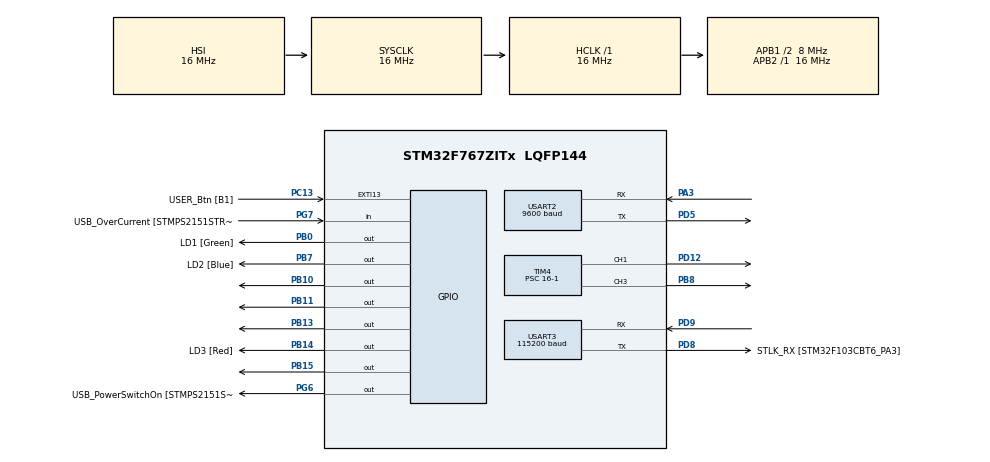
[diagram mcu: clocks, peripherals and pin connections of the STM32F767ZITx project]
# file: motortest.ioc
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Mcu.Family=STM32F7
Mcu.Name=STM32F767ZITx
Mcu.Package=LQFP144
NVIC.PriorityGroup=NVIC_PRIORITYGROUP_4
PA1.GPIO_Label=RMII_REF_CLK [LAN8742A-CZ-TR_REFCLK0]
PA1.Signal=ETH_REF_CLK
PA10.GPIO_Label=USB_ID
PA10.Signal=USB_OTG_FS_ID
PA11.GPIO_Label=USB_DM
PA11.Signal=USB_OTG_FS_DM
PA12.GPIO_Label=USB_DP
PA12.Signal=USB_OTG_FS_DP
PA13.GPIO_Label=TMS
PA13.Signal=SYS_JTMS-SWDIO
PA14.GPIO_Label=TCK
PA14.Signal=SYS_JTCK-SWCLK
PA2.GPIO_Label=RMII_MDIO [LAN8742A-CZ-TR_MDIO]
PA2.Signal=ETH_MDIO
PA3.Mode=Asynchronous
PA3.Signal=USART2_RX
PA7.GPIO_Label=RMII_CRS_DV [LAN8742A-CZ-TR_CRS_DV]
PA7.Signal=ETH_CRS_DV
PA8.GPIO_Label=USB_SOF [TP1]
PA8.Signal=USB_OTG_FS_SOF
PA9.GPIO_Label=USB_VBUS
PA9.Signal=USB_OTG_FS_VBUS
PB0.GPIO_Label=LD1 [Green]
PB0.Signal=GPIO_Output
PB10.Signal=GPIO_Output
PB11.Signal=GPIO_Output
PB13.Signal=GPIO_Output
PB14.GPIO_Label=LD3 [Red]
PB14.Signal=GPIO_Output
PB15.Signal=GPIO_Output
PB3.GPIO_Label=SW0
PB3.Signal=SYS_JTDO-SWO
PB7.GPIO_Label=LD2 [Blue]
PB7.Signal=GPIO_Output
PB8.Signal=S_TIM4_CH3
PC1.GPIO_Label=RMII_MDC [LAN8742A-CZ-TR_MDC]
PC1.Signal=ETH_MDC
PC13.GPIO_Label=USER_Btn [B1]
PC13.Signal=GPXTI13
PC14/OSC32_IN.Signal=RCC_OSC32_IN
PC15/OSC32_OUT.Signal=RCC_OSC32_OUT
PC4.GPIO_Label=RMII_RXD0 [LAN8742A-CZ-TR_RXD0]
PC4.Signal=ETH_RXD0
PC5.GPIO_Label=RMII_RXD1 [LAN8742A-CZ-TR_RXD1]
PC5.Signal=ETH_RXD1
PD12.Signal=S_TIM4_CH1
PD5.Mode=Asynchronous
PD5.Signal=USART2_TX
PD8.GPIO_Label=STLK_RX [STM32F103CBT6_PA3]
PD8.Mode=Asynchronous
PD8.Signal=USART3_TX
PD9.Mode=Asynchronous
PD9.Signal=USART3_RX
PG11.GPIO_Label=RMII_TX_EN [LAN8742A-CZ-TR_TXEN]
PG11.Signal=ETH_TX_EN
PG13.GPIO_Label=RMII_TXD0 [LAN8742A-CZ-TR_TXD0]
PG13.Signal=ETH_TXD0
PG6.GPIO_Label=USB_PowerSwitchOn [STMPS2151STR_EN]
PG6.Signal=GPIO_Output
PG7.GPIO_Label=USB_OverCurrent [STMPS2151STR_FAULT]
PG7.Signal=GPIO_Input
PH0/OSC_IN.GPIO_Label=MCO [STM32F103CBT6_PA8]
PH0/OSC_IN.Signal=RCC_OSC_IN
PH1/OSC_OUT.Signal=RCC_OSC_OUT
ProjectManager.HeapSize=0x200
ProjectManager.StackSize=0x400
ProjectManager.TargetToolchain=STM32CubeIDE
RCC.48MHZClocksFreq_Value=24000000
RCC.AHBFreq_Value=16000000
RCC.APB1CLKDivider=RCC_HCLK_DIV2
RCC.APB1Freq_Value=8000000
RCC.APB1TimFreq_Value=16000000
RCC.APB2Freq_Value=16000000
RCC.APB2TimFreq_Value=16000000
RCC.CortexFreq_Value=16000000
RCC.HCLKFreq_Value=16000000
RCC.HSE_VALUE=16000000
RCC.HSI_VALUE=16000000
RCC.LSE_VALUE=32768
RCC.PLLMUL=RCC_PLL_MUL9
RCC.PRESCALERUSB=RCC_USBCLKSOURCE_PLL_DIV1_5
RCC.SYSCLKFreq_VALUE=16000000
RCC.SYSCLKSourceVirtual=RCC_SYSCLKSOURCE_PLLCLK
RCC.USBFreq_Value=96000000
RCC.VCOOutputFreq_Value=192000000
SH.S_TIM4_CH1.0=TIM4_CH1,PWM Generation1 CH1
SH.S_TIM4_CH3.0=TIM4_CH3,PWM Generation3 CH3
TIM4.Channel-PWM\ Generation1\ CH1=TIM_CHANNEL_1
TIM4.Channel-PWM\ Generation3\ CH3=TIM_CHANNEL_3
TIM4.Period=10000-1
TIM4.Prescaler=16-1
USART2.BaudRate=9600
USART2.VirtualMode-Asynchronous=VM_ASYNC
USART3.BaudRate=115200
USART3.VirtualMode-Asynchronous=VM_ASYNC
VP_TIM4_VS_ClockSourceINT.Mode=Internal
board=NUCLEO-F767ZI

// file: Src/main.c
/* USER CODE BEGIN Header */
/**
  ******************************************************************************
  * @file           : main.c
  * @brief          : Main program body
  ******************************************************************************
  * @attention
  *
  * Copyright (c) 2025 STMicroelectronics.
  * All rights reserved.
  *
  * This software is licensed under terms that can be found in the LICENSE file
  * in the root directory of this software component.
  * If no LICENSE file comes with this software, it is provided AS-IS.
  *
  ******************************************************************************
  */
/* USER CODE END Header */
#include "main.h"

/* USER CODE BEGIN Includes */
#include <stdio.h>
#include <string.h>
/* USER CODE END Includes */

TIM_HandleTypeDef htim4;
UART_HandleTypeDef huart2;
UART_HandleTypeDef huart3;

void SystemClock_Config(void);
static void MX_GPIO_Init(void);
static void MX_TIM4_Init(void);
static void MX_USART2_UART_Init(void);
static void MX_USART3_UART_Init(void);

int main(void)
{

  /* MCU Configuration--------------------------------------------------------*/

  /* Reset of all peripherals, Initializes the Flash interface and the Systick. */
  HAL_Init();

  /* Configure the system clock */
  SystemClock_Config();

  /* Initialize all configured peripherals */
  MX_GPIO_Init();
  MX_TIM4_Init();
  MX_USART2_UART_Init();
  MX_USART3_UART_Init();
  /* USER CODE BEGIN 2 */

  // Start PWM on PB8 (TIM4_CH3)
  HAL_TIM_PWM_Start(&htim4, TIM_CHANNEL_3);
  HAL_TIM_PWM_Start(&htim4, TIM_CHANNEL_1);
  // set stop på motorene
  HAL_GPIO_WritePin(GPIOB,GPIO_PIN_15,GPIO_PIN_RESET);
  HAL_GPIO_WritePin(GPIOB,GPIO_PIN_13,GPIO_PIN_RESET);
  HAL_GPIO_WritePin(GPIOB,GPIO_PIN_10,GPIO_PIN_RESET);
  HAL_GPIO_WritePin(GPIOB,GPIO_PIN_11,GPIO_PIN_RESET);
  uint32_t arr = __HAL_TIM_GET_AUTORELOAD(&htim4); // get arr pwm
  char input[5]; // variable for uart
  uint8_t prosent = 0; // sett pwm cycle duty prosent her

 // __HAL_TIM_SET_COMPARE(&htim4, TIM_CHANNEL_1, 0);
 // __HAL_TIM_SET_COMPARE(&htim4, TIM_CHANNEL_3, 0);
  //HAL_Delay(500);
  //__HAL_TIM_SET_COMPARE(&htim4, TIM_CHANNEL_1, arr/2);
  //__HAL_TIM_SET_COMPARE(&htim4, TIM_CHANNEL_3, arr/2);
  //HAL_Delay(100);

  /* USER CODE END 2 */

  /* Infinite loop */
  /* USER CODE BEGIN WHILE */
  while (1)
  {
    if(HAL_UART_Receive(&huart2, (uint8_t*)input, sizeof(input), HAL_MAX_DELAY) == HAL_OK)//receive data
    {
      HAL_UART_Transmit(&huart3, (uint8_t*)input, sizeof(input), HAL_MAX_DELAY); //send data to uart3 for debugging
      //retning input
      if (strcmp((char *)input, "!B516") == 0) // framover
      {
        //høyre motor framover
        HAL_GPIO_WritePin(GPIOB,GPIO_PIN_15,GPIO_PIN_RESET);
        HAL_GPIO_WritePin(GPIOB,GPIO_PIN_13,GPIO_PIN_SET);
        //venstre motor framover
        HAL_GPIO_WritePin(GPIOB,GPIO_PIN_10,GPIO_PIN_RESET);
        HAL_GPIO_WritePin(GPIOB,GPIO_PIN_11,GPIO_PIN_SET);
      }
      else if (strcmp((char *)input, "!B615") == 0) // bakover
      {
        //høyre motor bakover
        HAL_GPIO_WritePin(GPIOB,GPIO_PIN_15,GPIO_PIN_SET);
        HAL_GPIO_WritePin(GPIOB,GPIO_PIN_13,GPIO_PIN_RESET);
        //venstre motor bakover
        HAL_GPIO_WritePin(GPIOB,GPIO_PIN_10,GPIO_PIN_SET);
        HAL_GPIO_WritePin(GPIOB,GPIO_PIN_11,GPIO_PIN_RESET);
      }
      else if (strcmp((char *)input, "!B714") == 0) // venstre
      {
        //høyre motor framover
        HAL_GPIO_WritePin(GPIOB,GPIO_PIN_15,GPIO_PIN_RESET);
        HAL_GPIO_WritePin(GPIOB,GPIO_PIN_13,GPIO_PIN_SET);
        //venstre motor bakover
        HAL_GPIO_WritePin(GPIOB,GPIO_PIN_10,GPIO_PIN_SET);
        HAL_GPIO_WritePin(GPIOB,GPIO_PIN_11,GPIO_PIN_RESET);
      }
      else if (strcmp((char *)input, "!B813") == 0) // høyre
      {
        //høyre motor bakover
        HAL_GPIO_WritePin(GPIOB,GPIO_PIN_15,GPIO_PIN_SET);
        HAL_GPIO_WritePin(GPIOB,GPIO_PIN_13,GPIO_PIN_RESET);
        //venstre motor framover
        HAL_GPIO_WritePin(GPIOB,GPIO_PIN_10,GPIO_PIN_RESET);
        HAL_GPIO_WritePin(GPIOB,GPIO_PIN_11,GPIO_PIN_SET);
      }
      //toggle speed
      else if (strcmp((char *)input, "!B11:") == 0) // sett hastighet 40 prosent
      {
        prosent = 40;
      }
      else if (strcmp((char *)input, "!B219") == 0) // sett hastighet 60 prosent
      {
        prosent = 60;
      }
      else if (strcmp((char *)input, "!B318") == 0) // sett hastighet 80 prosent
      {
        prosent = 80;
      }
      else if (strcmp((char *)input, "!B417") == 0) // sett hastighet 100 prosent
      {
        prosent = 100;
      }

      else // stopp
      {
        HAL_GPIO_WritePin(GPIOB,GPIO_PIN_15,GPIO_PIN_RESET);
        HAL_GPIO_WritePin(GPIOB,GPIO_PIN_13,GPIO_PIN_RESET);
        HAL_GPIO_WritePin(GPIOB,GPIO_PIN_10,GPIO_PIN_RESET);
        HAL_GPIO_WritePin(GPIOB,GPIO_PIN_11,GPIO_PIN_RESET);
      }
    }

    __HAL_TIM_SET_COMPARE(&htim4, TIM_CHANNEL_1, (arr/100)*prosent);
    __HAL_TIM_SET_COMPARE(&htim4, TIM_CHANNEL_3, (arr/100)*prosent);
    /* USER CODE END WHILE */

    /* USER CODE BEGIN 3 */
  }
  HAL_TIM_PWM_Stop(&htim4, TIM_CHANNEL_3);
  HAL_TIM_PWM_Stop(&htim4, TIM_CHANNEL_1);
  /* USER CODE END 3 */
}

void SystemClock_Config(void)
{
  RCC_OscInitTypeDef RCC_OscInitStruct = {0};
  RCC_ClkInitTypeDef RCC_ClkInitStruct = {0};

  /** Configure the main internal regulator output voltage
  */
  __HAL_RCC_PWR_CLK_ENABLE();
  __HAL_PWR_VOLTAGESCALING_CONFIG(PWR_REGULATOR_VOLTAGE_SCALE3);

  /** Initializes the RCC Oscillators according to the specified parameters
  * in the RCC_OscInitTypeDef structure.
  */
  RCC_OscInitStruct.OscillatorType = RCC_OSCILLATORTYPE_HSI;
  RCC_OscInitStruct.HSIState = RCC_HSI_ON;
  RCC_OscInitStruct.HSICalibrationValue = RCC_HSICALIBRATION_DEFAULT;
  RCC_OscInitStruct.PLL.PLLState = RCC_PLL_NONE;
  if (HAL_RCC_OscConfig(&RCC_OscInitStruct) != HAL_OK)
  {
    Error_Handler();
  }

  /** Initializes the CPU, AHB and APB buses clocks
  */
  RCC_ClkInitStruct.ClockType = RCC_CLOCKTYPE_HCLK|RCC_CLOCKTYPE_SYSCLK
                              |RCC_CLOCKTYPE_PCLK1|RCC_CLOCKTYPE_PCLK2;
  RCC_ClkInitStruct.SYSCLKSource = RCC_SYSCLKSOURCE_HSI;
  RCC_ClkInitStruct.AHBCLKDivider = RCC_SYSCLK_DIV1;
  RCC_ClkInitStruct.APB1CLKDivider = RCC_HCLK_DIV2;
  RCC_ClkInitStruct.APB2CLKDivider = RCC_HCLK_DIV1;

  if (HAL_RCC_ClockConfig(&RCC_ClkInitStruct, FLASH_LATENCY_0) != HAL_OK)
  {
    Error_Handler();
  }
}

static void MX_TIM4_Init(void)
{

  TIM_ClockConfigTypeDef sClockSourceConfig = {0};
  TIM_MasterConfigTypeDef sMasterConfig = {0};
  TIM_OC_InitTypeDef sConfigOC = {0};

  htim4.Instance = TIM4;
  htim4.Init.Prescaler = 16-1;
  htim4.Init.CounterMode = TIM_COUNTERMODE_UP;
  htim4.Init.Period = 10000-1;
  htim4.Init.ClockDivision = TIM_CLOCKDIVISION_DIV1;
  htim4.Init.AutoReloadPreload = TIM_AUTORELOAD_PRELOAD_DISABLE;
  if (HAL_TIM_Base_Init(&htim4) != HAL_OK)
  {
    Error_Handler();
  }
  sClockSourceConfig.ClockSource = TIM_CLOCKSOURCE_INTERNAL;
  if (HAL_TIM_ConfigClockSource(&htim4, &sClockSourceConfig) != HAL_OK)
  {
    Error_Handler();
  }
  if (HAL_TIM_PWM_Init(&htim4) != HAL_OK)
  {
    Error_Handler();
  }
  sMasterConfig.MasterOutputTrigger = TIM_TRGO_RESET;
  sMasterConfig.MasterSlaveMode = TIM_MASTERSLAVEMODE_DISABLE;
  if (HAL_TIMEx_MasterConfigSynchronization(&htim4, &sMasterConfig) != HAL_OK)
  {
    Error_Handler();
  }
  sConfigOC.OCMode = TIM_OCMODE_PWM1;
  sConfigOC.Pulse = 0;
  sConfigOC.OCPolarity = TIM_OCPOLARITY_HIGH;
  sConfigOC.OCFastMode = TIM_OCFAST_DISABLE;
  if (HAL_TIM_PWM_ConfigChannel(&htim4, &sConfigOC, TIM_CHANNEL_1) != HAL_OK)
  {
    Error_Handler();
  }
  if (HAL_TIM_PWM_ConfigChannel(&htim4, &sConfigOC, TIM_CHANNEL_3) != HAL_OK)
  {
    Error_Handler();
  }
  HAL_TIM_MspPostInit(&htim4);

}

static void MX_USART2_UART_Init(void)
{

  huart2.Instance = USART2;
  huart2.Init.BaudRate = 9600;
  huart2.Init.WordLength = UART_WORDLENGTH_8B;
  huart2.Init.StopBits = UART_STOPBITS_1;
  huart2.Init.Parity = UART_PARITY_NONE;
  huart2.Init.Mode = UART_MODE_TX_RX;
  huart2.Init.HwFlowCtl = UART_HWCONTROL_NONE;
  huart2.Init.OverSampling = UART_OVERSAMPLING_16;
  huart2.Init.OneBitSampling = UART_ONE_BIT_SAMPLE_DISABLE;
  huart2.AdvancedInit.AdvFeatureInit = UART_ADVFEATURE_NO_INIT;
  if (HAL_UART_Init(&huart2) != HAL_OK)
  {
    Error_Handler();
  }

}

static void MX_USART3_UART_Init(void)
{

  huart3.Instance = USART3;
  huart3.Init.BaudRate = 115200;
  huart3.Init.WordLength = UART_WORDLENGTH_8B;
  huart3.Init.StopBits = UART_STOPBITS_1;
  huart3.Init.Parity = UART_PARITY_NONE;
  huart3.Init.Mode = UART_MODE_TX_RX;
  huart3.Init.HwFlowCtl = UART_HWCONTROL_NONE;
  huart3.Init.OverSampling = UART_OVERSAMPLING_16;
  huart3.Init.OneBitSampling = UART_ONE_BIT_SAMPLE_DISABLE;
  huart3.AdvancedInit.AdvFeatureInit = UART_ADVFEATURE_NO_INIT;
  if (HAL_UART_Init(&huart3) != HAL_OK)
  {
    Error_Handler();
  }

}

static void MX_GPIO_Init(void)
{
  GPIO_InitTypeDef GPIO_InitStruct = {0};

  /* GPIO Ports Clock Enable */
  __HAL_RCC_GPIOC_CLK_ENABLE();
  __HAL_RCC_GPIOH_CLK_ENABLE();
  __HAL_RCC_GPIOA_CLK_ENABLE();
  __HAL_RCC_GPIOB_CLK_ENABLE();
  __HAL_RCC_GPIOD_CLK_ENABLE();
  __HAL_RCC_GPIOG_CLK_ENABLE();

  /*Configure GPIO pin Output Level */
  HAL_GPIO_WritePin(GPIOB, LD1_Pin|GPIO_PIN_10|GPIO_PIN_11|GPIO_PIN_13
                          |LD3_Pin|GPIO_PIN_15|LD2_Pin, GPIO_PIN_RESET);

  /*Configure GPIO pin Output Level */
  HAL_GPIO_WritePin(USB_PowerSwitchOn_GPIO_Port, USB_PowerSwitchOn_Pin, GPIO_PIN_RESET);

  /*Configure GPIO pin : USER_Btn_Pin */
  GPIO_InitStruct.Pin = USER_Btn_Pin;
  GPIO_InitStruct.Mode = GPIO_MODE_IT_RISING;
  GPIO_InitStruct.Pull = GPIO_NOPULL;
  HAL_GPIO_Init(USER_Btn_GPIO_Port, &GPIO_InitStruct);

  /*Configure GPIO pins : RMII_MDC_Pin RMII_RXD0_Pin RMII_RXD1_Pin */
  GPIO_InitStruct.Pin = RMII_MDC_Pin|RMII_RXD0_Pin|RMII_RXD1_Pin;
  GPIO_InitStruct.Mode = GPIO_MODE_AF_PP;
  GPIO_InitStruct.Pull = GPIO_NOPULL;
  GPIO_InitStruct.Speed = GPIO_SPEED_FREQ_VERY_HIGH;
  GPIO_InitStruct.Alternate = GPIO_AF11_ETH;
  HAL_GPIO_Init(GPIOC, &GPIO_InitStruct);

  /*Configure GPIO pins : RMII_REF_CLK_Pin RMII_MDIO_Pin RMII_CRS_DV_Pin */
  GPIO_InitStruct.Pin = RMII_REF_CLK_Pin|RMII_MDIO_Pin|RMII_CRS_DV_Pin;
  GPIO_InitStruct.Mode = GPIO_MODE_AF_PP;
  GPIO_InitStruct.Pull = GPIO_NOPULL;
  GPIO_InitStruct.Speed = GPIO_SPEED_FREQ_VERY_HIGH;
  GPIO_InitStruct.Alternate = GPIO_AF11_ETH;
  HAL_GPIO_Init(GPIOA, &GPIO_InitStruct);

  /*Configure GPIO pins : LD1_Pin PB10 PB11 PB13
                           LD3_Pin PB15 LD2_Pin */
  GPIO_InitStruct.Pin = LD1_Pin|GPIO_PIN_10|GPIO_PIN_11|GPIO_PIN_13
                          |LD3_Pin|GPIO_PIN_15|LD2_Pin;
  GPIO_InitStruct.Mode = GPIO_MODE_OUTPUT_PP;
  GPIO_InitStruct.Pull = GPIO_NOPULL;
  GPIO_InitStruct.Speed = GPIO_SPEED_FREQ_LOW;
  HAL_GPIO_Init(GPIOB, &GPIO_InitStruct);

  /*Configure GPIO pin : USB_PowerSwitchOn_Pin */
  GPIO_InitStruct.Pin = USB_PowerSwitchOn_Pin;
  GPIO_InitStruct.Mode = GPIO_MODE_OUTPUT_PP;
  GPIO_InitStruct.Pull = GPIO_NOPULL;
  GPIO_InitStruct.Speed = GPIO_SPEED_FREQ_LOW;
  HAL_GPIO_Init(USB_PowerSwitchOn_GPIO_Port, &GPIO_InitStruct);

  /*Configure GPIO pin : USB_OverCurrent_Pin */
  GPIO_InitStruct.Pin = USB_OverCurrent_Pin;
  GPIO_InitStruct.Mode = GPIO_MODE_INPUT;
  GPIO_InitStruct.Pull = GPIO_NOPULL;
  HAL_GPIO_Init(USB_OverCurrent_GPIO_Port, &GPIO_InitStruct);

  /*Configure GPIO pins : USB_SOF_Pin USB_ID_Pin USB_DM_Pin USB_DP_Pin */
  GPIO_InitStruct.Pin = USB_SOF_Pin|USB_ID_Pin|USB_DM_Pin|USB_DP_Pin;
  GPIO_InitStruct.Mode = GPIO_MODE_AF_PP;
  GPIO_InitStruct.Pull = GPIO_NOPULL;
  GPIO_InitStruct.Speed = GPIO_SPEED_FREQ_VERY_HIGH;
  GPIO_InitStruct.Alternate = GPIO_AF10_OTG_FS;
  HAL_GPIO_Init(GPIOA, &GPIO_InitStruct);

  /*Configure GPIO pin : USB_VBUS_Pin */
  GPIO_InitStruct.Pin = USB_VBUS_Pin;
  GPIO_InitStruct.Mode = GPIO_MODE_INPUT;
  GPIO_InitStruct.Pull = GPIO_NOPULL;
  HAL_GPIO_Init(USB_VBUS_GPIO_Port, &GPIO_InitStruct);

  /*Configure GPIO pins : RMII_TX_EN_Pin RMII_TXD0_Pin */
  GPIO_InitStruct.Pin = RMII_TX_EN_Pin|RMII_TXD0_Pin;
  GPIO_InitStruct.Mode = GPIO_MODE_AF_PP;
  GPIO_InitStruct.Pull = GPIO_NOPULL;
  GPIO_InitStruct.Speed = GPIO_SPEED_FREQ_VERY_HIGH;
  GPIO_InitStruct.Alternate = GPIO_AF11_ETH;
  HAL_GPIO_Init(GPIOG, &GPIO_InitStruct);

}

void Error_Handler(void)
{
  __disable_irq();
  while (1)
  {
  }
}
